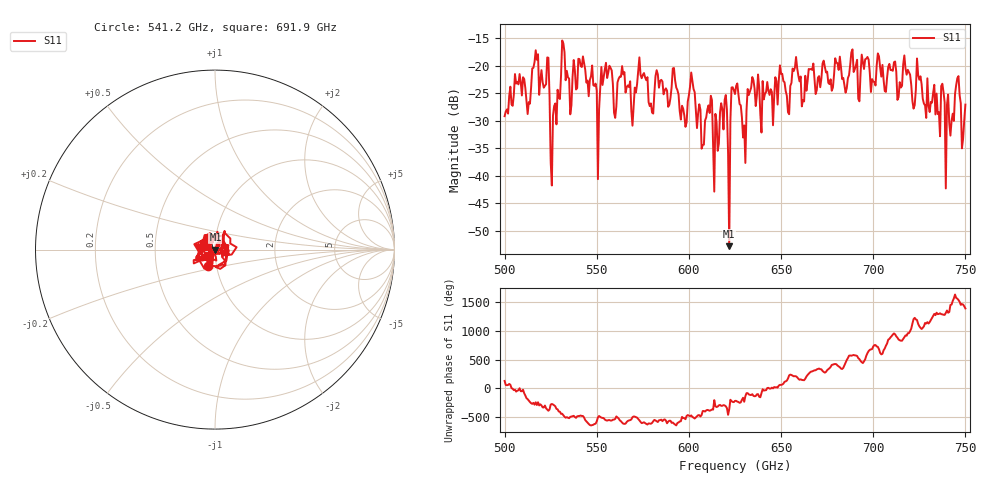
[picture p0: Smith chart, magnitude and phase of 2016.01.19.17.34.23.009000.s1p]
!Created with skrf (http://scikit-rf.org).
# GHz S RI R 50.0
!freq ReS11 ImS11
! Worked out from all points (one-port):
!   401 points, 500 GHz to 750 GHz, reference 50 ohm
!   lowest |S11| = -52.8 dB at 621.9 GHz (marker M1), VSWR 1.00, Z = 50.2 - j0.0151 ohm
!   |S11| at or under -10 dB: start of sweep to end of sweep
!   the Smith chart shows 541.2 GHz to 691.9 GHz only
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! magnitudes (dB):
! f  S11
! 500 GHz  -29.2
! 506.9 GHz  -22.9
! 513.1 GHz  -26.6
! 516.9 GHz  -17.2
! 523.1 GHz  -18.5
! 526.2 GHz  -29.1
! 531.2 GHz  -15.4
! 541.9 GHz  -20.2
! 550 GHz  -24.5
! 553.8 GHz  -22.0
! 562.5 GHz  -22.0
! 593.8 GHz  -24.4
! 597.5 GHz  -29.0
! 601.9 GHz  -22.7
! 608.1 GHz  -34.3
! 611.2 GHz  -28.6
! 614.4 GHz  -28.7
! 618.8 GHz  -31.6
! 621.9 GHz  -52.8
! 625 GHz  -25.1
! 630 GHz  -30.8
! 633.8 GHz  -24.0
! 656.2 GHz  -20.5
! 687.5 GHz  -19.8
! 718.8 GHz  -20.7
! 740.6 GHz  -25.2
! 745.6 GHz  -22.3
! 750 GHz  -27.1
